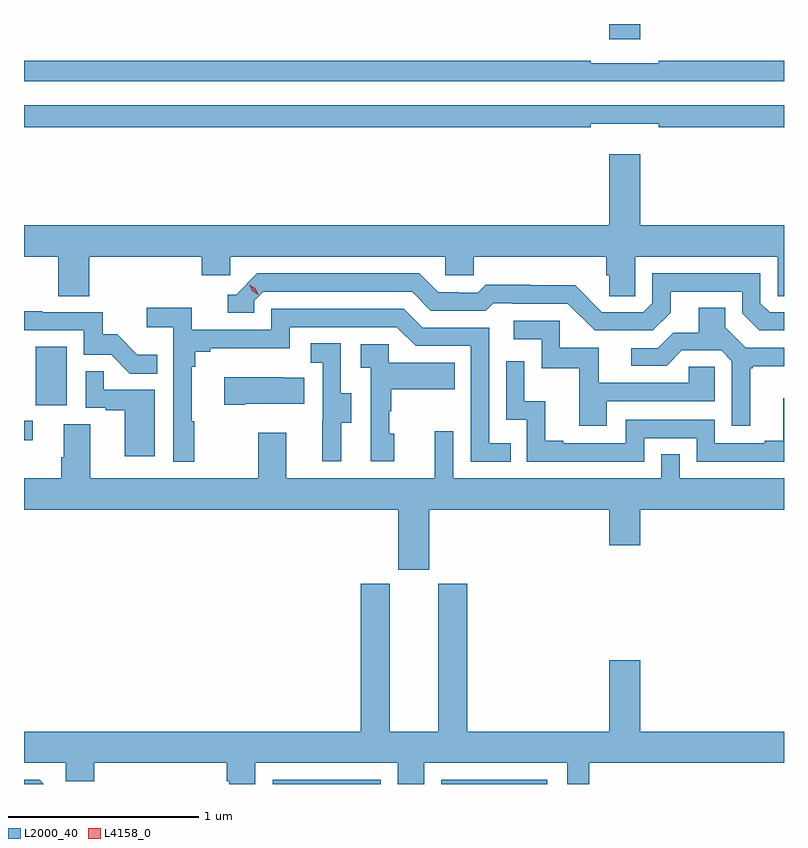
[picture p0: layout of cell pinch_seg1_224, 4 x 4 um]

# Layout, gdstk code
import gdstk
lib = gdstk.Library(unit=1e-6, precision=1e-09)
def R(c, l, rs):  # rectangles x0, y0, x1, y1
    for r in rs: c.add(gdstk.rectangle(r[:2], r[2:], *l))
def P(c, l, *ps):  # polygons
    for p in ps: c.add(gdstk.Polygon(p, *l))
L2000_40 = (2000, 40)
L4158_0 = (4158, 0)

pinch_seg1_224 = lib.new_cell('pinch_seg1_224')
R(pinch_seg1_224, L2000_40, [(954.444,567.604,955.014,567.627), (955.332,567.604,955.89,567.627), (953.136,569.412,953.182,569.517), (953.198,569.598,953.362,569.905), (956.216,571.524,956.38,571.604)])
P(pinch_seg1_224, L2000_40, [(957.136,571.411),(956.476,571.411),(956.476,571.398),(956.12,571.398),(956.12,571.411),(953.136,571.411),(953.136,571.302),(957.136,571.302)],
  [(956.12,571.079),(956.476,571.079),(956.476,571.06),(957.136,571.06),(957.136,571.176),(953.136,571.176),(953.136,571.06),(956.12,571.06)],
  [(953.48,570.38),(954.071,570.38),(954.071,570.282),(954.222,570.282),(954.222,570.38),(955.353,570.38),(955.353,570.282),(955.503,570.282),(955.503,570.38),(956.201,570.38),(956.201,570.282),(956.215,570.282),(956.215,570.172),(956.352,570.172),(956.352,570.38),(957.102,570.38),(957.102,570.172),(957.136,570.172),(957.136,570.544),(956.38,570.544),(956.38,570.919),(956.216,570.919),(956.216,570.544),(953.136,570.544),(953.136,570.38),(953.315,570.38),(953.315,570.172),(953.48,570.172)],
  [(956.539,570.085),(956.539,570.195),(956.916,570.195),(956.916,570.081),(957.006,569.991),(957.136,569.991),(957.136,570.087),(957.06,570.087),(957.012,570.135),(957.012,570.291),(956.442,570.291),(956.442,570.135),(956.394,570.087),(956.178,570.087),(956.036,570.229),(955.8,570.229),(955.8,570.232),(955.567,570.232),(955.525,570.189),(955.422,570.189),(955.422,570.192),(955.315,570.192),(955.216,570.291),(954.363,570.291),(954.252,570.18),(954.209,570.18),(954.209,570.084),(954.348,570.084),(954.348,570.147),(954.396,570.195),(955.179,570.195),(955.278,570.096),(955.567,570.096),(955.606,570.135),(955.705,570.135),(955.705,570.132),(955.998,570.132),(956.139,569.991),(956.445,569.991)],
  [(956.959,569.793),(956.971,569.793),(956.971,569.804),(957.136,569.804),(957.136,569.901),(956.934,569.901),(956.827,570.008),(956.827,570.11),(956.687,570.11),(956.687,569.978),(956.552,569.978),(956.472,569.898),(956.331,569.898),(956.331,569.805),(956.518,569.805),(956.599,569.886),(956.805,569.886),(956.862,569.829),(956.862,569.49),(956.959,569.49)],
  [(954.031,569.513),(954.019,569.513),(954.019,569.801),(954.038,569.801),(954.038,569.878),(954.115,569.878),(954.115,569.897),(954.534,569.897),(954.534,570.009),(955.098,570.009),(955.197,569.91),(955.488,569.91),(955.488,569.301),(955.697,569.301),(955.697,569.397),(955.584,569.397),(955.584,570.006),(955.234,570.006),(955.135,570.105),(954.438,570.105),(954.438,569.994),(954.02,569.994),(954.02,570.11),(953.781,570.11),(953.781,570.008),(953.922,570.008),(953.922,569.301),(954.031,569.301)],
  [(953.837,569.863),(953.733,569.863),(953.626,569.97),(953.55,569.97),(953.55,570.087),(953.231,570.087),(953.231,570.092),(953.136,570.092),(953.136,569.991),(953.451,569.991),(953.451,569.862),(953.595,569.862),(953.693,569.764),(953.837,569.764)],
  [(956.203,569.619),(956.772,569.619),(956.772,569.799),(956.635,569.799),(956.635,569.715),(956.161,569.715),(956.161,569.901),(955.956,569.901),(955.956,570.042),(955.713,570.042),(955.713,569.946),(955.86,569.946),(955.86,569.793),(956.059,569.793),(956.059,569.49),(956.203,569.49)],
  [(954.805,569.506),(954.859,569.506),(954.859,569.661),(954.804,569.661),(954.804,569.924),(954.645,569.924),(954.645,569.821),(954.708,569.821),(954.708,569.517),(954.707,569.517),(954.707,569.304),(954.805,569.304)],
  [(955.084,569.448),(955.059,569.448),(955.059,569.567),(955.069,569.567),(955.069,569.681),(955.403,569.681),(955.403,569.821),(955.056,569.821),(955.056,569.919),(954.909,569.919),(954.909,569.795),(954.96,569.795),(954.96,569.304),(955.084,569.304)],
  [(956.4,569.424),(956.676,569.424),(956.676,569.301),(957.136,569.301),(957.136,569.635),(957.131,569.635),(957.131,569.41),(957.035,569.41),(957.035,569.397),(956.772,569.397),(956.772,569.52),(956.304,569.52),(956.304,569.397),(955.975,569.397),(955.975,569.41),(955.88,569.41),(955.88,569.618),(955.77,569.618),(955.77,569.83),(955.674,569.83),(955.674,569.52),(955.782,569.52),(955.782,569.301),(956.4,569.301)],
  [(953.824,569.679),(953.555,569.679),(953.555,569.777),(953.46,569.777),(953.46,569.583),(953.567,569.583),(953.567,569.571),(953.666,569.571),(953.666,569.328),(953.824,569.328)],
  [(954.301,569.606),(954.611,569.606),(954.611,569.743),(954.503,569.743),(954.503,569.746),(954.189,569.746),(954.189,569.599),(954.301,569.599)],
  [(955.27,569.048),(956.216,569.048),(956.216,568.86),(956.38,568.86),(956.38,569.048),(957.136,569.048),(957.136,569.212),(956.586,569.212),(956.586,569.339),(956.49,569.339),(956.49,569.212),(955.395,569.212),(955.395,569.461),(955.298,569.461),(955.298,569.212),(954.517,569.212),(954.517,569.452),(954.37,569.452),(954.37,569.212),(953.485,569.212),(953.485,569.498),(953.345,569.498),(953.345,569.324),(953.333,569.324),(953.333,569.212),(953.136,569.212),(953.136,569.048),(955.106,569.048),(955.106,568.731),(955.27,568.731)],
  [(954.354,567.716),(955.104,567.716),(955.104,567.604),(955.243,567.604),(955.243,567.716),(955.995,567.716),(955.995,567.604),(956.111,567.604),(956.111,567.716),(957.136,567.716),(957.136,567.88),(956.38,567.88),(956.38,568.255),(956.216,568.255),(956.216,567.88),(955.469,567.88),(955.469,568.659),(955.316,568.659),(955.316,567.88),(955.06,567.88),(955.06,568.659),(954.908,568.659),(954.908,567.88),(953.136,567.88),(953.136,567.716),(953.355,567.716),(953.355,567.618),(953.505,567.618),(953.505,567.716),(954.203,567.716),(954.203,567.618),(954.217,567.618),(954.217,567.604),(954.354,567.604)],
  [(953.218,567.627),(953.136,567.627),(953.136,567.604),(953.241,567.604)])
P(pinch_seg1_224, L4158_0, [(954.37,570.179),(954.339,570.198),(954.322,570.231),(954.322,570.231),(954.322,570.231),(954.354,570.212),(954.37,570.179),(954.37,570.179)])

lib.write_gds('pinch_seg1_224.gds')
